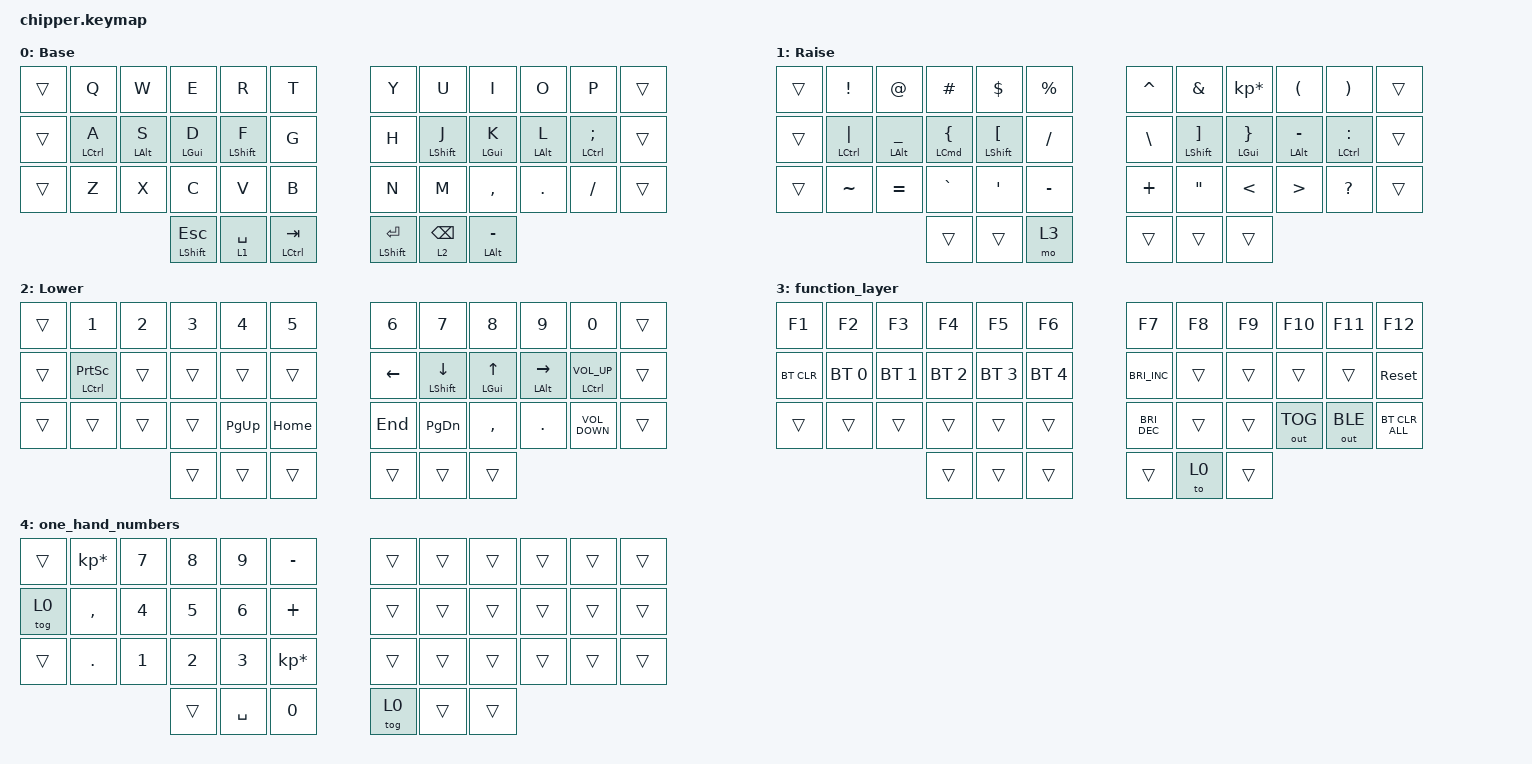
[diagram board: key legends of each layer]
/*
 * Copyright (c) 2020 The ZMK Contributors
 *
 * SPDX-License-Identifier: MIT
 */

#include <behaviors.dtsi>
#include <dt-bindings/zmk/bt.h>
#include <dt-bindings/zmk/keys.h>
#include <dt-bindings/zmk/outputs.h>

#define COMBO_TIMEOUT 20
#define COMBO_PRIOR_IDLE 80

// adding double tap for layer tap, which makes possible to hold the $kp

&caps_word { continue-list = <UNDERSCORE BACKSPACE DELETE SPACE MINUS>; };

/ {
    chosen {
        zmk,kscan = &kscan0;
        zmk,matrix_transform = &default_transform;
    };

    behaviors {
        hmr: hmr {
            compatible = "zmk,behavior-hold-tap";
            label = "home-row-mode-for-right";
            bindings = <&kp>, <&kp>;

            #binding-cells = <2>;
            tapping-term-ms = <230>;
            quick-tap-ms = <150>;
            require-prior-idle-ms = <130>;
            flavor = "balanced";
            hold-trigger-on-release;
            hold-trigger-key-positions = <0 1 2 3 4 5 12 13 14 15 16 17 24 25 26 27 28 29 36 37 38 39 40 41>;
        };

        hml: hml {
            compatible = "zmk,behavior-hold-tap";
            label = "home-mode-row-for-left";
            bindings = <&kp>, <&kp>;

            #binding-cells = <2>;
            tapping-term-ms = <230>;
            quick-tap-ms = <155>;
            require-prior-idle-ms = <130>;
            flavor = "balanced";
            hold-trigger-key-positions = <37 38 36 6 7 8 9 10 11 18 19 20 21 22 23 30 31 32 33 34 35 39 40 41>;
            hold-trigger-on-release;
        };

        rthumb: rthumb {
            compatible = "zmk,behavior-hold-tap";
            label = "RIGHT_THUMB";
            bindings = <&mo>, <&kp>;

            #binding-cells = <2>;
            tapping-term-ms = <230>;
            quick-tap-ms = <130>;
            flavor = "hold-preferred";
            hold-trigger-key-positions = <6 7 8 9 10 1 2 3 4 5 18 19 20 21 13 40 30 29>;
        };

        lthumb: lthumb {
            compatible = "zmk,behavior-hold-tap";
            label = "LTHUMB";
            bindings = <&mo>, <&kp>;

            #binding-cells = <2>;
            tapping-term-ms = <230>;
            quick-tap-ms = <150>;
        };

        holdPriority: holdPriority {
            compatible = "zmk,behavior-hold-tap";
            label = "HOLDPRIORITY";
            bindings = <&kp>, <&kp>;

            #binding-cells = <2>;
            tapping-term-ms = <230>;
            quick-tap-ms = <150>;
        };
    };

    combos {
        compatible = "zmk,combos";

        delete {
            timeout-ms = <COMBO_TIMEOUT>;
            require-prior-idle-ms = <COMBO_PRIOR_IDLE>;
            bindings = <&kp DEL>;
            key-positions = <15 16>;
        };

        copy {
            timeout-ms = <COMBO_TIMEOUT>;
            require-prior-idle-ms = <COMBO_PRIOR_IDLE>;
            bindings = <&kp LG(C)>;
            key-positions = <26 27>;
        };

        paste {
            timeout-ms = <COMBO_TIMEOUT>;
            require-prior-idle-ms = <COMBO_PRIOR_IDLE>;
            bindings = <&kp LG(V)>;
            key-positions = <27 28>;
        };

        cut {
            timeout-ms = <COMBO_TIMEOUT>;
            require-prior-idle-ms = <COMBO_PRIOR_IDLE>;
            bindings = <&kp LG(X)>;
            key-positions = <26 28>;
        };

        esc {
            bindings = <&kp ESC>;
            key-positions = <19 20>;
        };

        enter {
            bindings = <&kp ENTER>;
            key-positions = <1 2 3 4>;
            layers = <0 4>;
        };

        equal {
            bindings = <&kp EQUAL>;
            key-positions = <26 25>;
            slow-release;
            timeout-ms = <35>;
            require-prior-idle-ms = <40>;
            layers = <0>;
        };

        caps_word {
            bindings = <&caps_word>;
            key-positions = <16 19 15 20>;
            layers = <0>;
        };

        num_pad_one_hand {
            bindings = <&tog 4>;
            key-positions = <26 25 27 28>;
            layers = <0 4>;
        };

        escape_left {
            bindings = <&kp ESCAPE>;
            key-positions = <1 2 3>;
        };
    };

    keymap {
        compatible = "zmk,keymap";

        default_layer {
            label = "Base";
            bindings = <
&trans  &kp Q         &kp W            &kp E                            &kp R              &kp T                      &kp Y                       &kp U                &kp I                         &kp O            &kp P            &trans
&trans  &hml LCTRL A  &hml LEFT_ALT S  &hml LEFT_GUI D                  &hml LEFT_SHIFT F  &kp G                      &kp H                       &hmr LEFT_SHIFT J    &hmr LEFT_GUI K               &hmr LEFT_ALT L  &hmr LCTRL SEMI  &trans
&trans  &kp Z         &kp X            &kp C                            &kp V              &kp B                      &kp N                       &kp M                &kp COMMA                     &kp DOT          &kp FSLH         &trans
                                       &holdPriority LEFT_SHIFT ESCAPE  &lthumb 1 SPACE    &holdPriority LCTRL TAB    &holdPriority LSHIFT ENTER  &rthumb 2 BACKSPACE  &holdPriority LEFT_ALT MINUS
            >;
        };

        symbol_layer {
            label = "Raise";
            bindings = <
&trans  &kp EXCL         &kp AT                    &kp HASH                      &kp DLLR                      &kp PRCNT    &kp CARET      &kp AMPS              &kp KP_MULTIPLY            &kp LPAR             &kp RPAR          &trans
&trans  &hml LCTRL PIPE  &hml LEFT_ALT UNDERSCORE  &hml LEFT_COMMAND LEFT_BRACE  &hml LEFT_SHIFT LEFT_BRACKET  &kp FSLH     &kp BACKSLASH  &hmr LEFT_SHIFT RBKT  &hmr LEFT_GUI RIGHT_BRACE  &hmr LEFT_ALT MINUS  &hmr LCTRL COLON  &trans
&trans  &kp TILDE        &kp EQUAL                 &kp GRAVE                     &kp SINGLE_QUOTE              &kp MINUS    &kp PLUS       &kp DOUBLE_QUOTES     &kp LESS_THAN              &kp GREATER_THAN     &kp QUESTION      &trans
                                                   &trans                        &trans                        &mo 3        &trans         &trans                &trans
            >;
        };

        lower_layer {
            label = "Lower";
            bindings = <
&trans  &kp N1                  &kp N2  &kp N3  &kp N4       &kp N5      &kp N6    &kp N7                &kp N8                  &kp N9               &kp N0                  &trans
&trans  &hml LCTRL PRINTSCREEN  &trans  &trans  &trans       &trans      &kp LEFT  &hmr LEFT_SHIFT DOWN  &hmr LEFT_GUI UP_ARROW  &hmr LEFT_ALT RIGHT  &hmr LCTRL C_VOLUME_UP  &trans
&trans  &trans                  &trans  &trans  &kp PAGE_UP  &kp HOME    &kp END   &kp PAGE_DOWN         &kp COMMA               &kp DOT              &kp C_VOLUME_DOWN       &trans
                                        &trans  &trans       &trans      &trans    &trans                &trans
            >;
        };

        function_layer {
            bindings = <
&kp F1      &kp F2        &kp F3        &kp F4        &kp F5        &kp F6          &kp F7                &kp F8  &kp F9  &kp F10       &kp F11       &kp F12
&bt BT_CLR  &bt BT_SEL 0  &bt BT_SEL 1  &bt BT_SEL 2  &bt BT_SEL 3  &bt BT_SEL 4    &kp C_BRIGHTNESS_INC  &trans  &trans  &trans        &trans        &sys_reset
&trans      &trans        &trans        &trans        &trans        &trans          &kp C_BRIGHTNESS_DEC  &trans  &trans  &out OUT_TOG  &out OUT_BLE  &bt BT_CLR_ALL
                                        &trans        &trans        &trans          &trans                &to 0   &trans
            >;
        };

        one_hand_numbers {
            bindings = <
&trans  &kp KP_MULTIPLY  &kp N7        &kp NUMBER_8  &kp NUMBER_9  &kp MINUS          &trans  &trans  &trans  &trans  &trans  &trans
&tog 0  &kp COMMA        &kp NUMBER_4  &kp NUMBER_5  &kp NUMBER_6  &kp PLUS           &trans  &trans  &trans  &trans  &trans  &trans
&trans  &kp DOT          &kp NUMBER_1  &kp NUMBER_2  &kp NUMBER_3  &kp KP_MULTIPLY    &trans  &trans  &trans  &trans  &trans  &trans
                                       &trans        &kp SPACE     &kp NUMBER_0       &tog 0  &trans  &trans
            >;
        };
    };
};
